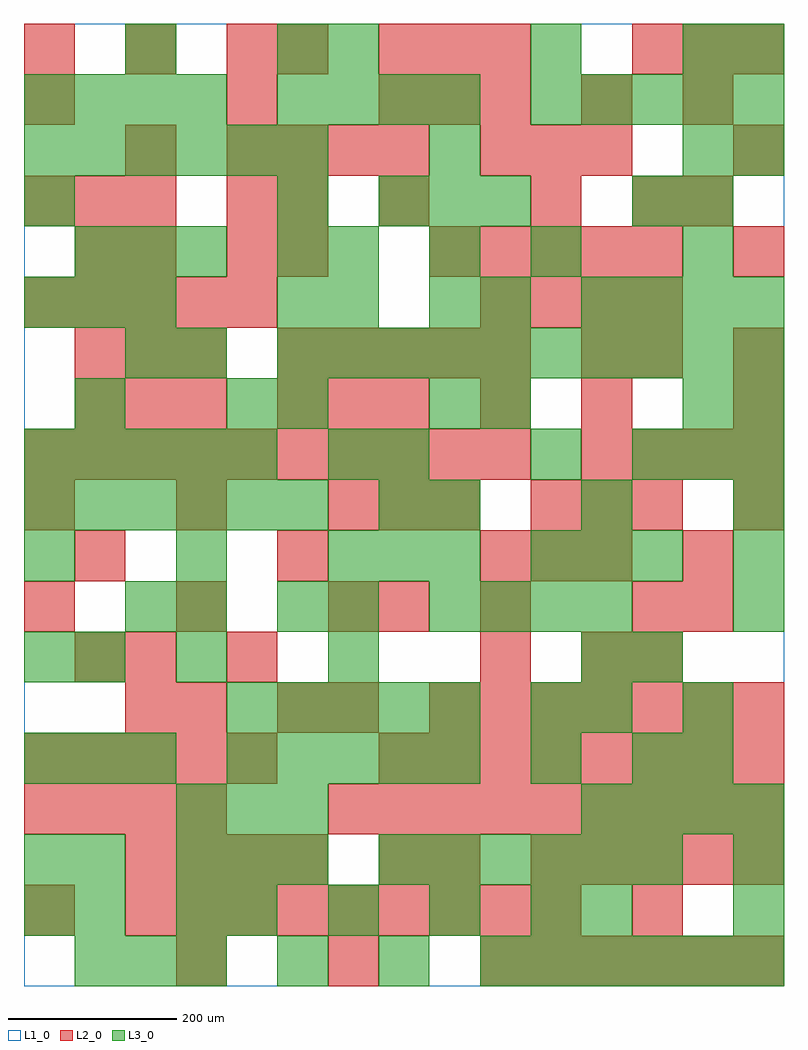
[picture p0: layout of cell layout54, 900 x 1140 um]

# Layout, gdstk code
import gdstk
lib = gdstk.Library(unit=1e-6, precision=1e-09)
def R(c, l, rs):  # rectangles x0, y0, x1, y1
    for r in rs: c.add(gdstk.rectangle(r[:2], r[2:], *l))
def A(c, l, x, y, w, h, nx, ny, dx, dy):  # array of equal rectangles
    R(c, l, [(x+i*dx, y+j*dy, x+i*dx+w, y+j*dy+h) for i in range(nx) for j in range(ny)])
L1_0 = (1, 0)
L2_0 = (2, 0)
L3_0 = (3, 0)

layout54 = lib.new_cell('layout54')
R(layout54, L1_0, [(0,0,900,1140)])
A(layout54, L2_0, 180, 0, 60, 60, 3, 1, 180, 0)
A(layout54, L2_0, 600, 0, 60, 60, 5, 2, 60, 120)
A(layout54, L2_0, 120, 60, 60, 60, 9, 1, 60, 0)
A(layout54, L2_0, 120, 120, 60, 60, 4, 1, 60, 0)
A(layout54, L2_0, 0, 180, 60, 60, 4, 1, 60, 0)
A(layout54, L2_0, 360, 180, 60, 60, 9, 1, 60, 0)
A(layout54, L2_0, 0, 240, 60, 60, 5, 2, 60, 540)
A(layout54, L2_0, 420, 240, 60, 60, 8, 1, 60, 0)
A(layout54, L2_0, 480, 300, 60, 60, 7, 1, 60, 0)
A(layout54, L2_0, 0, 420, 60, 60, 3, 2, 180, 120)
A(layout54, L2_0, 60, 480, 60, 60, 3, 1, 240, 0)
A(layout54, L2_0, 600, 540, 60, 60, 3, 1, 60, 0)
A(layout54, L2_0, 0, 600, 60, 60, 10, 1, 60, 0)
A(layout54, L2_0, 660, 600, 60, 60, 4, 1, 60, 0)
A(layout54, L2_0, 60, 660, 60, 60, 3, 2, 60, 60)
A(layout54, L2_0, 300, 660, 60, 60, 3, 1, 60, 0)
A(layout54, L2_0, 300, 720, 60, 60, 5, 1, 60, 0)
A(layout54, L2_0, 840, 720, 60, 60, 1, 3, 0, 120)
A(layout54, L2_0, 540, 780, 60, 60, 4, 1, 60, 0)
A(layout54, L2_0, 480, 840, 60, 60, 5, 1, 60, 0)
A(layout54, L2_0, 0, 900, 60, 60, 3, 1, 60, 0)
A(layout54, L2_0, 240, 960, 60, 60, 4, 1, 60, 0)
A(layout54, L2_0, 540, 960, 60, 60, 3, 1, 60, 0)
A(layout54, L2_0, 420, 1020, 60, 60, 3, 2, 60, 60)
A(layout54, L2_0, 0, 1080, 60, 60, 3, 1, 120, 0)
A(layout54, L2_0, 720, 1080, 60, 60, 3, 1, 60, 0)
R(layout54, L2_0, [(0,60,60,120), (720,60,780,120), (420,120,480,180), (480,120,540,180), (120,300,180,360), (180,300,240,360), (300,300,360,360), (360,300,420,360), (60,360,120,420), (120,360,180,420), (240,360,300,420), (540,360,600,420), (660,360,720,420), (720,360,780,420), (420,420,480,480), (540,420,600,480), (720,420,780,480), (780,420,840,480), (600,480,660,540), (660,480,720,540), (780,480,840,540), (420,540,480,600), (480,540,540,600), (840,540,900,600), (540,660,600,720), (660,660,720,720), (840,660,900,720), (660,720,720,780), (720,720,780,780), (60,840,120,900), (120,840,180,900), (240,840,300,900), (300,840,360,900), (240,900,300,960), (300,900,360,960), (420,900,480,960), (600,900,660,960), (720,900,780,960), (780,900,840,960), (120,960,180,1020), (0,1020,60,1080), (240,1020,300,1080), (660,1020,720,1080), (780,1020,840,1080), (300,1080,360,1140)])
A(layout54, L3_0, 60, 0, 60, 60, 3, 2, 60, 840)
A(layout54, L3_0, 300, 0, 60, 60, 3, 1, 120, 0)
A(layout54, L3_0, 600, 0, 60, 60, 5, 2, 60, 1020)
A(layout54, L3_0, 240, 60, 60, 60, 4, 1, 120, 0)
A(layout54, L3_0, 180, 120, 60, 60, 3, 2, 60, 60)
A(layout54, L3_0, 420, 120, 60, 60, 6, 1, 60, 0)
A(layout54, L3_0, 660, 180, 60, 60, 4, 2, 60, 600)
A(layout54, L3_0, 0, 240, 60, 60, 3, 2, 60, 540)
A(layout54, L3_0, 240, 240, 60, 60, 5, 2, 60, 60)
A(layout54, L3_0, 360, 420, 60, 60, 1, 3, 0, 180)
A(layout54, L3_0, 480, 420, 60, 60, 4, 1, 60, 0)
A(layout54, L3_0, 0, 480, 60, 60, 3, 1, 180, 0)
A(layout54, L3_0, 420, 480, 60, 60, 1, 3, 0, 60)
A(layout54, L3_0, 600, 480, 60, 60, 3, 1, 60, 0)
A(layout54, L3_0, 0, 540, 60, 60, 6, 2, 60, 420)
A(layout54, L3_0, 480, 540, 60, 60, 3, 1, 180, 0)
A(layout54, L3_0, 0, 600, 60, 60, 5, 1, 60, 0)
A(layout54, L3_0, 720, 600, 60, 60, 3, 1, 60, 0)
A(layout54, L3_0, 300, 720, 60, 60, 10, 1, 60, 0)
A(layout54, L3_0, 300, 780, 60, 60, 1, 3, 0, 60)
A(layout54, L3_0, 360, 840, 60, 60, 3, 1, 120, 0)
A(layout54, L3_0, 780, 840, 60, 60, 1, 3, 0, 60)
A(layout54, L3_0, 420, 900, 60, 60, 3, 1, 60, 0)
A(layout54, L3_0, 0, 1020, 60, 60, 4, 1, 60, 0)
A(layout54, L3_0, 300, 1020, 60, 60, 4, 1, 60, 0)
R(layout54, L3_0, [(0,60,60,120), (60,60,120,120), (180,60,240,120), (660,60,720,120), (840,60,900,120), (0,120,60,180), (60,120,120,180), (840,120,900,180), (600,240,660,300), (720,240,780,300), (780,240,840,300), (600,300,660,360), (660,300,720,360), (780,300,840,360), (0,360,60,420), (60,360,120,420), (180,360,240,420), (360,360,420,420), (660,360,720,420), (720,360,780,420), (120,420,180,480), (180,420,240,480), (300,420,360,480), (840,420,900,480), (480,480,540,540), (840,480,900,540), (600,600,660,660), (60,660,120,720), (240,660,300,720), (300,660,360,720), (480,660,540,720), (540,660,600,720), (780,660,840,720), (840,660,900,720), (120,720,180,780), (180,720,240,780), (480,780,540,840), (540,780,600,840), (0,900,60,960), (720,900,780,960), (480,960,540,1020), (840,960,900,1020), (120,1080,180,1140), (300,1080,360,1140), (360,1080,420,1140), (600,1080,660,1140), (780,1080,840,1140), (840,1080,900,1140)])

lib.write_gds('layout54.gds')
